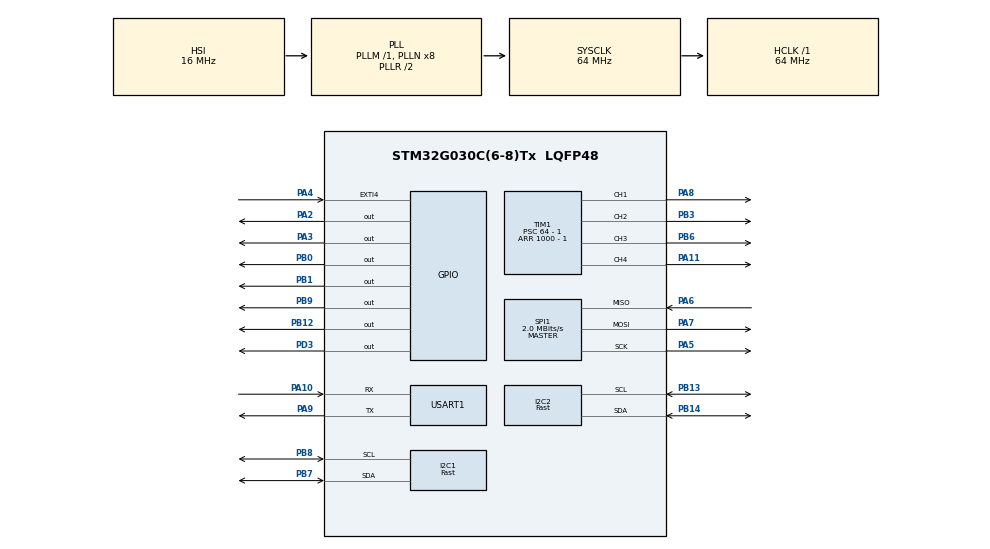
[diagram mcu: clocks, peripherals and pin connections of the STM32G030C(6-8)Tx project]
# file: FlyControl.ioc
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Dma.Request0=USART1_RX
Dma.USART1_RX.0.Direction=DMA_PERIPH_TO_MEMORY
Dma.USART1_RX.0.EventEnable=DISABLE
Dma.USART1_RX.0.Instance=DMA1_Channel1
Dma.USART1_RX.0.MemDataAlignment=DMA_MDATAALIGN_BYTE
Dma.USART1_RX.0.MemInc=DMA_MINC_ENABLE
Dma.USART1_RX.0.Mode=DMA_NORMAL
Dma.USART1_RX.0.PeriphDataAlignment=DMA_PDATAALIGN_BYTE
Dma.USART1_RX.0.PeriphInc=DMA_PINC_DISABLE
Dma.USART1_RX.0.Polarity=HAL_DMAMUX_REQ_GEN_RISING
Dma.USART1_RX.0.Priority=DMA_PRIORITY_LOW
Dma.USART1_RX.0.RequestNumber=1
Dma.USART1_RX.0.SignalID=NONE
Dma.USART1_RX.0.SyncEnable=DISABLE
Dma.USART1_RX.0.SyncPolarity=HAL_DMAMUX_SYNC_NO_EVENT
Dma.USART1_RX.0.SyncRequestNumber=1
Dma.USART1_RX.0.SyncSignalID=NONE
I2C1.I2C_Coeff_DF=15
I2C1.I2C_Speed_Mode=I2C_Fast
I2C1.Timing=0x00C01257
I2C2.I2C_Speed_Mode=I2C_Fast
I2C2.Timing=0x00C12166
Mcu.Family=STM32G0
Mcu.Name=STM32G030C(6-8)Tx
Mcu.Package=LQFP48
NVIC.DMA1_Channel1_IRQn=true\:0\:0\:false\:false\:true\:false\:true\:true
NVIC.EXTI4_15_IRQn=true\:0\:0\:false\:false\:true\:true\:true\:true
NVIC.I2C1_IRQn=true\:0\:0\:false\:false\:true\:true\:true\:true
NVIC.I2C2_IRQn=true\:0\:0\:false\:false\:true\:true\:true\:true
NVIC.SPI1_IRQn=true\:0\:0\:false\:false\:true\:true\:true\:true
NVIC.TIM1_BRK_UP_TRG_COM_IRQn=true\:0\:0\:false\:false\:true\:true\:true\:true
NVIC.TIM1_CC_IRQn=true\:0\:0\:false\:false\:true\:true\:true\:true
NVIC.TIM3_IRQn=true\:0\:0\:false\:false\:true\:true\:true\:true
NVIC.USART1_IRQn=true\:0\:0\:false\:false\:true\:true\:true\:true
PA10.Mode=Asynchronous
PA10.Signal=USART1_RX
PA11\ [PA9].Signal=S_TIM1_CH4
PA13.Mode=Serial_Wire
PA13.Signal=SYS_SWDIO
PA14-BOOT0.Mode=Serial_Wire
PA14-BOOT0.Signal=SYS_SWCLK
PA2.PinState=GPIO_PIN_RESET
PA2.Signal=GPIO_Output
PA3.PinState=GPIO_PIN_RESET
PA3.Signal=GPIO_Output
PA4.Signal=GPXTI4
PA5.Mode=Full_Duplex_Master
PA5.Signal=SPI1_SCK
PA6.Mode=Full_Duplex_Master
PA6.Signal=SPI1_MISO
PA7.Mode=Full_Duplex_Master
PA7.Signal=SPI1_MOSI
PA8.Signal=S_TIM1_CH1
PA9.Mode=Asynchronous
PA9.Signal=USART1_TX
PB0.GPIO_Speed=GPIO_SPEED_FREQ_HIGH
PB0.PinState=GPIO_PIN_SET
PB0.Signal=GPIO_Output
PB1.GPIO_PuPd=GPIO_PULLDOWN
PB1.PinState=GPIO_PIN_RESET
PB1.Signal=GPIO_Output
PB12.PinState=GPIO_PIN_RESET
PB12.Signal=GPIO_Output
PB13.GPIO_Pu=GPIO_PULLUP
PB13.GPIO_Speed=GPIO_SPEED_FREQ_MEDIUM
PB13.Mode=I2C
PB13.Signal=I2C2_SCL
PB14.GPIO_Pu=GPIO_PULLUP
PB14.GPIO_Speed=GPIO_SPEED_FREQ_MEDIUM
PB14.Mode=I2C
PB14.Signal=I2C2_SDA
PB3.Signal=S_TIM1_CH2
PB6.Signal=S_TIM1_CH3
PB7.GPIO_FM7=__NULL
PB7.GPIO_Pu=GPIO_PULLUP
PB7.GPIO_Speed=GPIO_SPEED_FREQ_MEDIUM
PB7.Mode=I2C
PB7.Signal=I2C1_SDA
PB8.GPIO_Pu=GPIO_PULLUP
PB8.GPIO_Speed=GPIO_SPEED_FREQ_MEDIUM
PB8.Mode=I2C
PB8.Signal=I2C1_SCL
PB9.PinState=GPIO_PIN_RESET
PB9.Signal=GPIO_Output
PD3.GPIO_Speed=GPIO_SPEED_FREQ_LOW
PD3.PinState=GPIO_PIN_RESET
PD3.Signal=GPIO_Output
ProjectManager.HeapSize=0x200
ProjectManager.StackSize=0x400
ProjectManager.TargetToolchain=MDK-ARM V5.32
RCC.ADCFreq_Value=64000000
RCC.AHBFreq_Value=64000000
RCC.CortexFreq_Value=64000000
RCC.EXTERNAL_CLOCK_VALUE=12288000
RCC.HCLKFreq_Value=64000000
RCC.HSE_VALUE=8000000
RCC.HSI_VALUE=16000000
RCC.LSE_VALUE=32768
RCC.SYSCLKFreq_VALUE=64000000
RCC.SYSCLKSource=RCC_SYSCLKSOURCE_PLLCLK
RCC.VCOOutputFreq_Value=128000000
SH.S_TIM1_CH1.0=TIM1_CH1,PWM Generation1 CH1
SH.S_TIM1_CH2.0=TIM1_CH2,PWM Generation2 CH2
SH.S_TIM1_CH3.0=TIM1_CH3,PWM Generation3 CH3
SH.S_TIM1_CH4.0=TIM1_CH4,PWM Generation4 CH4
SPI1.BaudRatePrescaler=SPI_BAUDRATEPRESCALER_32
SPI1.CalculateBaudRate=2.0 MBits/s
SPI1.Direction=SPI_DIRECTION_2LINES
SPI1.Mode=SPI_MODE_MASTER
SPI1.NSSPMode=SPI_NSS_PULSE_ENABLE
SPI1.TIMode=SPI_TIMODE_DISABLE
SPI1.VirtualType=VM_MASTER
TIM1.AutoReloadPreload=TIM_AUTORELOAD_PRELOAD_ENABLE
TIM1.Channel-PWM\ Generation1\ CH1=TIM_CHANNEL_1
TIM1.Channel-PWM\ Generation2\ CH2=TIM_CHANNEL_2
TIM1.Channel-PWM\ Generation3\ CH3=TIM_CHANNEL_3
TIM1.Channel-PWM\ Generation4\ CH4=TIM_CHANNEL_4
TIM1.Period=1000 - 1
TIM1.Prescaler=64 - 1
TIM3.AutoReloadPreload=TIM_AUTORELOAD_PRELOAD_ENABLE
TIM3.Period=1000 - 1
TIM3.Prescaler=64 - 1
USART1.VirtualMode-Asynchronous=VM_ASYNC
VP_TIM1_VS_ClockSourceINT.Mode=Internal
VP_TIM3_VS_ClockSourceINT.Mode=Internal
board=custom

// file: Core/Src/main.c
/* USER CODE BEGIN Header */
/**
  ******************************************************************************
  * @file           : main.c
  * @brief          : Main program body
  ******************************************************************************
  * @attention
  *
  * Copyright (c) 2025 STMicroelectronics.
  * All rights reserved.
  *
  * This software is licensed under terms that can be found in the LICENSE file
  * in the root directory of this software component.
  * If no LICENSE file comes with this software, it is provided AS-IS.
  *
  ******************************************************************************
  */
/* USER CODE END Header */
#include "main.h"
#include "dma.h"
#include "i2c.h"
#include "spi.h"
#include "tim.h"
#include "usart.h"
#include "gpio.h"

/* USER CODE BEGIN Includes */
#include <stdio.h>
#include <stdbool.h>
#include <math.h>
#include "Motor.h"
#include "Delay.h"
#include "Debug.h"
#include "BMP180.h"
#include "MPU6050.h"
#include "H24_Command.h"
#include "H24.h"
#include "PID.h"
/* USER CODE END Includes */

void SystemClock_Config(void);

/* USER CODE BEGIN 0 */
bool PID_Start = false;
bool Connect_State = false;
bool Emergy_Flag = false;
uint32_t get_time = 0, current_time = 0;
/* USER CODE END 0 */

int main(void)
{

  /* MCU Configuration--------------------------------------------------------*/

  /* Reset of all peripherals, Initializes the Flash interface and the Systick. */
  HAL_Init();

  /* Configure the system clock */
  SystemClock_Config();

  /* Initialize all configured peripherals */
  MX_GPIO_Init();
  MX_DMA_Init();
  MX_TIM1_Init();
  MX_I2C1_Init();
  MX_TIM3_Init();
  MX_SPI1_Init();
  MX_USART1_UART_Init();
  MX_I2C2_Init();
  /* USER CODE BEGIN 2 */
  HAL_GPIO_WritePin(GPIOA, GPIO_PIN_2, GPIO_PIN_SET);       //open power light
  Delay_ms(300);
  Motor_Init();
  MPU6050_Init();
  Delay_ms(50);
  H24_Init();
  HAL_TIM_Base_Start_IT(&htim3);
  /* USER CODE END 2 */
  /* Infinite loop */
  /* USER CODE BEGIN WHILE */
  //Debug_DataRecieve();                 //需要串口发送指令控制飞机时打开，同时需要解注释掉中断中的debug函数
  //Pitch->-0.5     Roll->-0.5
  // for (uint16_t i = 0; i < 1000; i++) {
  //   MPU6050_GetData(&MPU6050);
  //   balance_P += pitch, balance_R += roll;
  // }

  PID_DataUpdate(balance_P, balance_R, balance_Y);
  while (1)
  {
    /* USER CODE END WHILE */
    /* USER CODE BEGIN 3 */
    MPU6050_GetData(&MPU6050);      //MPU6050不断获取姿态数据

    Connect_State = H24_RecieveData();
    if (Connect_State == 1) {
      get_time = current_time;
      H24_Command();					//收到数据包则执行相应指令
    }
             //不断获取当前时间ms
    if ((fabs(pitch) >= 30 || fabs(roll) >= 30)) {
      Emergy_Flag = true;		//飞行时的姿态保护，防止倾角过大导致飞机失控
    }

    if (!PID_Start) {       //当没有PID修正时，将平衡点设置回悬浮状态
      PID_DataUpdate(balance_P, balance_R, yaw);
      PID_DataClear();
    }
    if (Bind_Flag == true) {    //当对码成功后，检查当前时间与上次接收到数据的时间差，通过时间差判断是否丢控
      if (fabs(current_time - get_time) >= 1000) {
        Emergy_Flag = true;
      }
    }
    Debug_R();
  }

  /* USER CODE END 3 */
}

void SystemClock_Config(void)
{
  RCC_OscInitTypeDef RCC_OscInitStruct = {0};
  RCC_ClkInitTypeDef RCC_ClkInitStruct = {0};

  /** Configure the main internal regulator output voltage
  */
  HAL_PWREx_ControlVoltageScaling(PWR_REGULATOR_VOLTAGE_SCALE1);

  /** Initializes the RCC Oscillators according to the specified parameters
  * in the RCC_OscInitTypeDef structure.
  */
  RCC_OscInitStruct.OscillatorType = RCC_OSCILLATORTYPE_HSI;
  RCC_OscInitStruct.HSIState = RCC_HSI_ON;
  RCC_OscInitStruct.HSIDiv = RCC_HSI_DIV1;
  RCC_OscInitStruct.HSICalibrationValue = RCC_HSICALIBRATION_DEFAULT;
  RCC_OscInitStruct.PLL.PLLState = RCC_PLL_ON;
  RCC_OscInitStruct.PLL.PLLSource = RCC_PLLSOURCE_HSI;
  RCC_OscInitStruct.PLL.PLLM = RCC_PLLM_DIV1;
  RCC_OscInitStruct.PLL.PLLN = 8;
  RCC_OscInitStruct.PLL.PLLP = RCC_PLLP_DIV2;
  RCC_OscInitStruct.PLL.PLLR = RCC_PLLR_DIV2;
  if (HAL_RCC_OscConfig(&RCC_OscInitStruct) != HAL_OK)
  {
    Error_Handler();
  }

  /** Initializes the CPU, AHB and APB buses clocks
  */
  RCC_ClkInitStruct.ClockType = RCC_CLOCKTYPE_HCLK|RCC_CLOCKTYPE_SYSCLK
                              |RCC_CLOCKTYPE_PCLK1;
  RCC_ClkInitStruct.SYSCLKSource = RCC_SYSCLKSOURCE_PLLCLK;
  RCC_ClkInitStruct.AHBCLKDivider = RCC_SYSCLK_DIV1;
  RCC_ClkInitStruct.APB1CLKDivider = RCC_HCLK_DIV1;

  if (HAL_RCC_ClockConfig(&RCC_ClkInitStruct, FLASH_LATENCY_2) != HAL_OK)
  {
    Error_Handler();
  }
}

void Error_Handler(void)
{
  __disable_irq();
  while (1)
  {
  }
}
